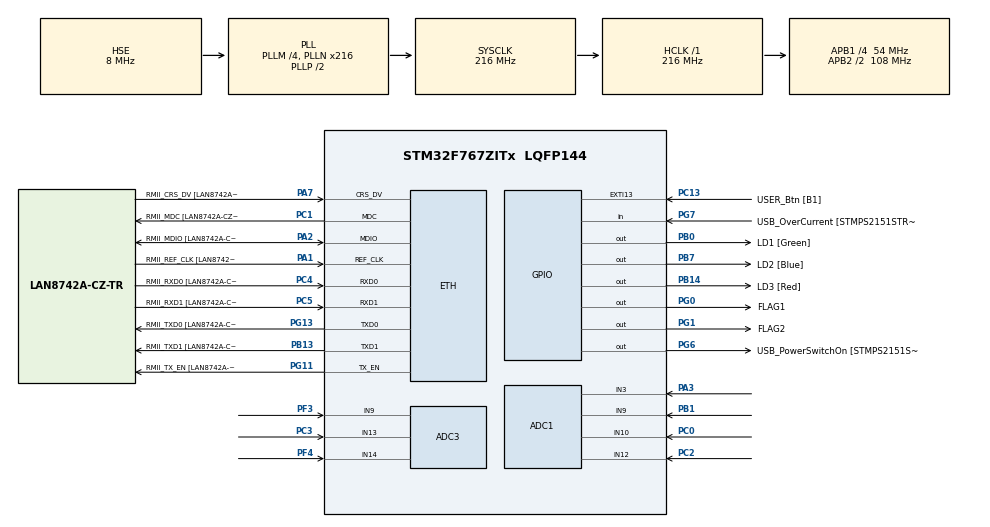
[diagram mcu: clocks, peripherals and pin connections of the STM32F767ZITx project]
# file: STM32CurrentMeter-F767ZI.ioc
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ADC1.Channel-3\#ChannelRegularConversion=ADC_CHANNEL_3
ADC1.Channel-4\#ChannelRegularConversion=ADC_CHANNEL_10
ADC1.Channel-5\#ChannelRegularConversion=ADC_CHANNEL_9
ADC1.Channel-6\#ChannelRegularConversion=ADC_CHANNEL_12
ADC1.InjNumberOfConversion=0
ADC1.NbrOfConversion=4
ADC1.NbrOfConversionFlag=1
ADC1.Rank-3\#ChannelRegularConversion=1
ADC1.Rank-4\#ChannelRegularConversion=2
ADC1.Rank-5\#ChannelRegularConversion=3
ADC1.Rank-6\#ChannelRegularConversion=4
ADC1.SamplingTime-3\#ChannelRegularConversion=ADC_SAMPLETIME_3CYCLES
ADC1.SamplingTime-4\#ChannelRegularConversion=ADC_SAMPLETIME_3CYCLES
ADC1.SamplingTime-5\#ChannelRegularConversion=ADC_SAMPLETIME_3CYCLES
ADC1.SamplingTime-6\#ChannelRegularConversion=ADC_SAMPLETIME_3CYCLES
ADC1.master=1
ADC3.Channel-2\#ChannelRegularConversion=ADC_CHANNEL_13
ADC3.Channel-3\#ChannelRegularConversion=ADC_CHANNEL_9
ADC3.Channel-4\#ChannelRegularConversion=ADC_CHANNEL_14
ADC3.NbrOfConversion=3
ADC3.NbrOfConversionFlag=1
ADC3.Rank-2\#ChannelRegularConversion=1
ADC3.Rank-3\#ChannelRegularConversion=2
ADC3.Rank-4\#ChannelRegularConversion=3
ADC3.SamplingTime-2\#ChannelRegularConversion=ADC_SAMPLETIME_3CYCLES
ADC3.SamplingTime-3\#ChannelRegularConversion=ADC_SAMPLETIME_3CYCLES
ADC3.SamplingTime-4\#ChannelRegularConversion=ADC_SAMPLETIME_3CYCLES
ADC3.ScanConvMode=ADC_SCAN_ENABLE
Dma.ADC1.1.Direction=DMA_PERIPH_TO_MEMORY
Dma.ADC1.1.FIFOMode=DMA_FIFOMODE_DISABLE
Dma.ADC1.1.Instance=DMA2_Stream4
Dma.ADC1.1.MemDataAlignment=DMA_MDATAALIGN_WORD
Dma.ADC1.1.MemInc=DMA_MINC_ENABLE
Dma.ADC1.1.Mode=DMA_NORMAL
Dma.ADC1.1.PeriphDataAlignment=DMA_PDATAALIGN_WORD
Dma.ADC1.1.PeriphInc=DMA_PINC_DISABLE
Dma.ADC1.1.Priority=DMA_PRIORITY_LOW
Dma.ADC3.0.Direction=DMA_PERIPH_TO_MEMORY
Dma.ADC3.0.FIFOMode=DMA_FIFOMODE_DISABLE
Dma.ADC3.0.Instance=DMA2_Stream0
Dma.ADC3.0.MemDataAlignment=DMA_MDATAALIGN_WORD
Dma.ADC3.0.MemInc=DMA_MINC_ENABLE
Dma.ADC3.0.Mode=DMA_NORMAL
Dma.ADC3.0.PeriphDataAlignment=DMA_PDATAALIGN_WORD
Dma.ADC3.0.PeriphInc=DMA_PINC_DISABLE
Dma.ADC3.0.Priority=DMA_PRIORITY_LOW
Dma.Request0=ADC3
Dma.Request1=ADC1
ETH.MediaInterface=HAL_ETH_RMII_MODE
ETH.PHY_Name=LAN8742A_PHY_ADDRESS
ETH.PHY_Value=0
ETH.PhyAddress=0
Mcu.Family=STM32F7
Mcu.Name=STM32F767ZITx
Mcu.Package=LQFP144
NVIC.ADC_IRQn=true\:0\:0\:false\:false\:true\:true\:true\:true
NVIC.DMA2_Stream0_IRQn=true\:0\:0\:false\:false\:true\:false\:true\:true
NVIC.DMA2_Stream4_IRQn=true\:0\:0\:false\:false\:true\:false\:true\:true
NVIC.PriorityGroup=NVIC_PRIORITYGROUP_4
NVIC.TIM3_IRQn=true\:0\:0\:false\:false\:true\:true\:true\:true
PA1.GPIO_Label=RMII_REF_CLK [LAN8742A-CZ-TR_REFCLK0]
PA1.Mode=RMII
PA1.Signal=ETH_REF_CLK
PA10.GPIO_Label=USB_ID
PA10.Signal=USB_OTG_FS_ID
PA11.GPIO_Label=USB_DM
PA11.Signal=USB_OTG_FS_DM
PA12.GPIO_Label=USB_DP
PA12.Signal=USB_OTG_FS_DP
PA13.GPIO_Label=TMS
PA13.Mode=Serial_Wire
PA13.Signal=SYS_JTMS-SWDIO
PA14.GPIO_Label=TCK
PA14.Mode=Serial_Wire
PA14.Signal=SYS_JTCK-SWCLK
PA2.GPIO_Label=RMII_MDIO [LAN8742A-CZ-TR_MDIO]
PA2.Mode=RMII
PA2.Signal=ETH_MDIO
PA3.Signal=ADCx_IN3
PA7.GPIO_Label=RMII_CRS_DV [LAN8742A-CZ-TR_CRS_DV]
PA7.Mode=RMII
PA7.Signal=ETH_CRS_DV
PA8.GPIO_Label=USB_SOF [TP1]
PA8.Signal=USB_OTG_FS_SOF
PA9.GPIO_Label=USB_VBUS
PA9.Signal=USB_OTG_FS_VBUS
PB0.GPIO_Label=LD1 [Green]
PB0.Signal=GPIO_Output
PB1.Signal=ADCx_IN9
PB13.GPIO_Label=RMII_TXD1 [LAN8742A-CZ-TR_TXD1]
PB13.Mode=RMII
PB13.Signal=ETH_TXD1
PB14.GPIO_Label=LD3 [Red]
PB14.Signal=GPIO_Output
PB3.GPIO_Label=SWO
PB3.Signal=SYS_JTDO-SWO
PB7.GPIO_Label=LD2 [Blue]
PB7.Signal=GPIO_Output
PC0.Signal=ADCx_IN10
PC1.GPIO_Label=RMII_MDC [LAN8742A-CZ-TR_MDC]
PC1.Mode=RMII
PC1.Signal=ETH_MDC
PC13.GPIO_Label=USER_Btn [B1]
PC13.Signal=GPXTI13
PC14/OSC32_IN.Mode=LSE-External-Oscillator
PC14/OSC32_IN.Signal=RCC_OSC32_IN
PC15/OSC32_OUT.Mode=LSE-External-Oscillator
PC15/OSC32_OUT.Signal=RCC_OSC32_OUT
PC2.Signal=ADCx_IN12
PC3.Signal=ADCx_IN13
PC4.GPIO_Label=RMII_RXD0 [LAN8742A-CZ-TR_RXD0]
PC4.Mode=RMII
PC4.Signal=ETH_RXD0
PC5.GPIO_Label=RMII_RXD1 [LAN8742A-CZ-TR_RXD1]
PC5.Mode=RMII
PC5.Signal=ETH_RXD1
PD8.GPIO_Label=STLK_RX [STM32F103CBT6_PA3]
PD8.Signal=USART3_TX
PD9.GPIO_Label=STLK_TX [STM32F103CBT6_PA2]
PD9.Signal=USART3_RX
PF3.Mode=IN9
PF3.Signal=ADC3_IN9
PF4.Mode=IN14
PF4.Signal=ADC3_IN14
PG0.GPIO_Label=FLAG1
PG0.GPIO_Speed=GPIO_SPEED_FREQ_VERY_HIGH
PG0.Signal=GPIO_Output
PG1.GPIO_Label=FLAG2
PG1.GPIO_Speed=GPIO_SPEED_FREQ_VERY_HIGH
PG1.Signal=GPIO_Output
PG11.GPIO_Label=RMII_TX_EN [LAN8742A-CZ-TR_TXEN]
PG11.Mode=RMII
PG11.Signal=ETH_TX_EN
PG13.GPIO_Label=RMII_TXD0 [LAN8742A-CZ-TR_TXD0]
PG13.Mode=RMII
PG13.Signal=ETH_TXD0
PG6.GPIO_Label=USB_PowerSwitchOn [STMPS2151STR_EN]
PG6.Signal=GPIO_Output
PG7.GPIO_Label=USB_OverCurrent [STMPS2151STR_FAULT]
PG7.Signal=GPIO_Input
PH0/OSC_IN.GPIO_Label=MCO [STM32F103CBT6_PA8]
PH0/OSC_IN.Mode=HSE-External-Clock-Source
PH0/OSC_IN.Signal=RCC_OSC_IN
PH1/OSC_OUT.Mode=HSE-External-Clock-Source
PH1/OSC_OUT.Signal=RCC_OSC_OUT
ProjectManager.HeapSize=0x200
ProjectManager.StackSize=0x400
ProjectManager.TargetToolchain=CMake
RCC.48MHZClocksFreq_Value=24000000
RCC.AHBFreq_Value=216000000
RCC.APB1CLKDivider=RCC_HCLK_DIV4
RCC.APB1Freq_Value=54000000
RCC.APB1TimFreq_Value=108000000
RCC.APB2CLKDivider=RCC_HCLK_DIV2
RCC.APB2Freq_Value=108000000
RCC.APB2TimFreq_Value=216000000
RCC.CortexFreq_Value=216000000
RCC.HCLKFreq_Value=216000000
RCC.HSE_VALUE=8000000
RCC.HSI_VALUE=16000000
RCC.PLLM=4
RCC.PLLMUL=RCC_PLL_MUL9
RCC.PLLN=216
RCC.PLLQ=9
RCC.PLLSourceVirtual=RCC_PLLSOURCE_HSE
RCC.PRESCALERUSB=RCC_USBCLKSOURCE_PLL_DIV1_5
RCC.SYSCLKFreq_VALUE=216000000
RCC.SYSCLKSource=RCC_SYSCLKSOURCE_PLLCLK
RCC.SYSCLKSourceVirtual=RCC_SYSCLKSOURCE_PLLCLK
RCC.USBFreq_Value=48000000
RCC.VCOOutputFreq_Value=432000000
SH.ADCx_IN10.0=ADC1_IN10,IN10
SH.ADCx_IN12.0=ADC1_IN12,IN12
SH.ADCx_IN13.0=ADC3_IN13,IN13
SH.ADCx_IN3.0=ADC1_IN3,IN3
SH.ADCx_IN9.0=ADC1_IN9,IN9
TIM3.Period=TIM_PERIOD * CLOCK_FREQ * TIM3_CLK_PRSCL
VP_TIM3_VS_ClockSourceINT.Mode=Internal
board=NUCLEO-F767ZI

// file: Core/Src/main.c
/* USER CODE BEGIN Header */
/**
 ******************************************************************************
 * @file           : main.c
 * @brief          : Main program body
 ******************************************************************************
 * @attention
 *
 * Copyright (c) 2024 STMicroelectronics.
 * All rights reserved.
 *
 * This software is licensed under terms that can be found in the LICENSE file
 * in the root directory of this software component.
 * If no LICENSE file comes with this software, it is provided AS-IS.
 *
 ******************************************************************************
 */
/* USER CODE END Header */
#include "main.h"
#include "string.h"

/* USER CODE BEGIN Includes */
#include "def.h"
#include "measure.h"

/* USER CODE END Includes */

#if defined(__ICCARM__) /*!< IAR Compiler */
#pragma location = 0x2007c000
ETH_DMADescTypeDef DMARxDscrTab[ETH_RX_DESC_CNT]; /* Ethernet Rx DMA Descriptors */
#pragma location = 0x2007c0a0
ETH_DMADescTypeDef DMATxDscrTab[ETH_TX_DESC_CNT]; /* Ethernet Tx DMA Descriptors */

#elif defined(__CC_ARM) /* MDK ARM Compiler */

__attribute__((at(0x2007c000))) ETH_DMADescTypeDef DMARxDscrTab[ETH_RX_DESC_CNT]; /* Ethernet Rx DMA Descriptors */
__attribute__((at(0x2007c0a0))) ETH_DMADescTypeDef DMATxDscrTab[ETH_TX_DESC_CNT]; /* Ethernet Tx DMA Descriptors */

#elif defined(__GNUC__) /* GNU Compiler */

ETH_DMADescTypeDef DMARxDscrTab[ETH_RX_DESC_CNT] __attribute__((section(".RxDecripSection"))); /* Ethernet Rx DMA Descriptors */
ETH_DMADescTypeDef DMATxDscrTab[ETH_TX_DESC_CNT] __attribute__((section(".TxDecripSection"))); /* Ethernet Tx DMA Descriptors */
#endif

ETH_TxPacketConfig TxConfig;

ADC_HandleTypeDef hadc1;
ADC_HandleTypeDef hadc3;
DMA_HandleTypeDef hdma_adc1;
DMA_HandleTypeDef hdma_adc3;

ETH_HandleTypeDef heth;

TIM_HandleTypeDef htim3;

/* USER CODE BEGIN PV */

static uint32_t adcBuffer[NB_ADC1_PINS + NB_ADC3_PINS]; // buffer to store adc instantanate values
static uint32_t *adc1_buffer = &adcBuffer[0];
static uint32_t *adc3_buffer = &adcBuffer[NB_ADC1_PINS];

static volatile bool adc1Complete;
static volatile bool adc3Complete;
static volatile bool adcCompleteFlag = false;

static volatile bool measureCompleteFlag;

/* USER CODE END PV */

void SystemClock_Config(void);
static void MX_GPIO_Init(void);
static void MX_DMA_Init(void);
static void MX_ADC3_Init(void);
static void MX_ETH_Init(void);
static void MX_ADC1_Init(void);
static void MX_TIM3_Init(void);
/* USER CODE BEGIN PFP */

void sendErrorMain(ErrorCode errorCode, float value);

/* USER CODE END PFP */

int main(void)
{

    /* MCU Configuration--------------------------------------------------------*/

    /* Reset of all peripherals, Initializes the Flash interface and the Systick. */
    HAL_Init();

    /* Configure the system clock */
    SystemClock_Config();

    /* Initialize all configured peripherals */
    MX_GPIO_Init();
    MX_DMA_Init();
    MX_ADC3_Init();
    MX_ETH_Init();
    MX_ADC1_Init();
    MX_TIM3_Init();
    /* USER CODE BEGIN 2 */

    adc1Complete = true;
    adc3Complete = true;
    measureCompleteFlag = true;
    measureInit();
    HAL_TIM_Base_Start_IT(&htim3);

    /* USER CODE END 2 */

    /* Infinite loop */
    while (1)
    {

    }
}

void SystemClock_Config(void)
{
    RCC_OscInitTypeDef RCC_OscInitStruct = {0};
    RCC_ClkInitTypeDef RCC_ClkInitStruct = {0};

    /** Configure LSE Drive Capability
     */
    HAL_PWR_EnableBkUpAccess();

    /** Configure the main internal regulator output voltage
     */
    __HAL_RCC_PWR_CLK_ENABLE();
    __HAL_PWR_VOLTAGESCALING_CONFIG(PWR_REGULATOR_VOLTAGE_SCALE1);

    /** Initializes the RCC Oscillators according to the specified parameters
     * in the RCC_OscInitTypeDef structure.
     */
    RCC_OscInitStruct.OscillatorType = RCC_OSCILLATORTYPE_HSE;
    RCC_OscInitStruct.HSEState = RCC_HSE_BYPASS;
    RCC_OscInitStruct.PLL.PLLState = RCC_PLL_ON;
    RCC_OscInitStruct.PLL.PLLSource = RCC_PLLSOURCE_HSE;
    RCC_OscInitStruct.PLL.PLLM = 4;
    RCC_OscInitStruct.PLL.PLLN = 216;
    RCC_OscInitStruct.PLL.PLLP = RCC_PLLP_DIV2;
    RCC_OscInitStruct.PLL.PLLQ = 9;
    RCC_OscInitStruct.PLL.PLLR = 2;
    if (HAL_RCC_OscConfig(&RCC_OscInitStruct) != HAL_OK)
    {
        Error_Handler();
    }

    /** Activate the Over-Drive mode
     */
    if (HAL_PWREx_EnableOverDrive() != HAL_OK)
    {
        Error_Handler();
    }

    /** Initializes the CPU, AHB and APB buses clocks
     */
    RCC_ClkInitStruct.ClockType = RCC_CLOCKTYPE_HCLK | RCC_CLOCKTYPE_SYSCLK | RCC_CLOCKTYPE_PCLK1 | RCC_CLOCKTYPE_PCLK2;
    RCC_ClkInitStruct.SYSCLKSource = RCC_SYSCLKSOURCE_PLLCLK;
    RCC_ClkInitStruct.AHBCLKDivider = RCC_SYSCLK_DIV1;
    RCC_ClkInitStruct.APB1CLKDivider = RCC_HCLK_DIV4;
    RCC_ClkInitStruct.APB2CLKDivider = RCC_HCLK_DIV2;

    if (HAL_RCC_ClockConfig(&RCC_ClkInitStruct, FLASH_LATENCY_7) != HAL_OK)
    {
        Error_Handler();
    }
}

static void MX_ADC1_Init(void)
{

    ADC_ChannelConfTypeDef sConfig = {0};

    /** Configure the global features of the ADC (Clock, Resolution, Data Alignment and number of conversion)
     */
    hadc1.Instance = ADC1;
    hadc1.Init.ClockPrescaler = ADC_CLOCK_SYNC_PCLK_DIV4;
    hadc1.Init.Resolution = ADC_RESOLUTION_12B;
    hadc1.Init.ScanConvMode = ADC_SCAN_ENABLE;
    hadc1.Init.ContinuousConvMode = DISABLE;
    hadc1.Init.DiscontinuousConvMode = DISABLE;
    hadc1.Init.ExternalTrigConvEdge = ADC_EXTERNALTRIGCONVEDGE_NONE;
    hadc1.Init.ExternalTrigConv = ADC_SOFTWARE_START;
    hadc1.Init.DataAlign = ADC_DATAALIGN_RIGHT;
    hadc1.Init.NbrOfConversion = 4;
    hadc1.Init.DMAContinuousRequests = DISABLE;
    hadc1.Init.EOCSelection = ADC_EOC_SINGLE_CONV;
    if (HAL_ADC_Init(&hadc1) != HAL_OK)
    {
        Error_Handler();
    }

    /** Configure for the selected ADC regular channel its corresponding rank in the sequencer and its sample time.
     */
    sConfig.Channel = ADC_CHANNEL_3;
    sConfig.Rank = ADC_REGULAR_RANK_1;
    sConfig.SamplingTime = ADC_SAMPLETIME_3CYCLES;
    if (HAL_ADC_ConfigChannel(&hadc1, &sConfig) != HAL_OK)
    {
        Error_Handler();
    }

    /** Configure for the selected ADC regular channel its corresponding rank in the sequencer and its sample time.
     */
    sConfig.Channel = ADC_CHANNEL_10;
    sConfig.Rank = ADC_REGULAR_RANK_2;
    if (HAL_ADC_ConfigChannel(&hadc1, &sConfig) != HAL_OK)
    {
        Error_Handler();
    }

    /** Configure for the selected ADC regular channel its corresponding rank in the sequencer and its sample time.
     */
    sConfig.Channel = ADC_CHANNEL_9;
    sConfig.Rank = ADC_REGULAR_RANK_3;
    if (HAL_ADC_ConfigChannel(&hadc1, &sConfig) != HAL_OK)
    {
        Error_Handler();
    }

    /** Configure for the selected ADC regular channel its corresponding rank in the sequencer and its sample time.
     */
    sConfig.Channel = ADC_CHANNEL_12;
    sConfig.Rank = ADC_REGULAR_RANK_4;
    if (HAL_ADC_ConfigChannel(&hadc1, &sConfig) != HAL_OK)
    {
        Error_Handler();
    }
}

static void MX_ADC3_Init(void)
{

    ADC_ChannelConfTypeDef sConfig = {0};

    /** Configure the global features of the ADC (Clock, Resolution, Data Alignment and number of conversion)
     */
    hadc3.Instance = ADC3;
    hadc3.Init.ClockPrescaler = ADC_CLOCK_SYNC_PCLK_DIV4;
    hadc3.Init.Resolution = ADC_RESOLUTION_12B;
    hadc3.Init.ScanConvMode = ADC_SCAN_ENABLE;
    hadc3.Init.ContinuousConvMode = DISABLE;
    hadc3.Init.DiscontinuousConvMode = DISABLE;
    hadc3.Init.ExternalTrigConvEdge = ADC_EXTERNALTRIGCONVEDGE_NONE;
    hadc3.Init.ExternalTrigConv = ADC_SOFTWARE_START;
    hadc3.Init.DataAlign = ADC_DATAALIGN_RIGHT;
    hadc3.Init.NbrOfConversion = 3;
    hadc3.Init.DMAContinuousRequests = DISABLE;
    hadc3.Init.EOCSelection = ADC_EOC_SINGLE_CONV;
    if (HAL_ADC_Init(&hadc3) != HAL_OK)
    {
        Error_Handler();
    }

    /** Configure for the selected ADC regular channel its corresponding rank in the sequencer and its sample time.
     */
    sConfig.Channel = ADC_CHANNEL_13;
    sConfig.Rank = ADC_REGULAR_RANK_1;
    sConfig.SamplingTime = ADC_SAMPLETIME_3CYCLES;
    if (HAL_ADC_ConfigChannel(&hadc3, &sConfig) != HAL_OK)
    {
        Error_Handler();
    }

    /** Configure for the selected ADC regular channel its corresponding rank in the sequencer and its sample time.
     */
    sConfig.Channel = ADC_CHANNEL_9;
    sConfig.Rank = ADC_REGULAR_RANK_2;
    if (HAL_ADC_ConfigChannel(&hadc3, &sConfig) != HAL_OK)
    {
        Error_Handler();
    }

    /** Configure for the selected ADC regular channel its corresponding rank in the sequencer and its sample time.
     */
    sConfig.Channel = ADC_CHANNEL_14;
    sConfig.Rank = ADC_REGULAR_RANK_3;
    if (HAL_ADC_ConfigChannel(&hadc3, &sConfig) != HAL_OK)
    {
        Error_Handler();
    }
}

static void MX_ETH_Init(void)
{

    static uint8_t MACAddr[6];

    heth.Instance = ETH;
    MACAddr[0] = 0x00;
    MACAddr[1] = 0x80;
    MACAddr[2] = 0xE1;
    MACAddr[3] = 0x00;
    MACAddr[4] = 0x00;
    MACAddr[5] = 0x00;
    heth.Init.MACAddr = &MACAddr[0];
    heth.Init.MediaInterface = HAL_ETH_RMII_MODE;
    heth.Init.TxDesc = DMATxDscrTab;
    heth.Init.RxDesc = DMARxDscrTab;
    heth.Init.RxBuffLen = 1524;

    if (HAL_ETH_Init(&heth) != HAL_OK)
    {
        Error_Handler();
    }

    memset(&TxConfig, 0, sizeof(ETH_TxPacketConfig));
    TxConfig.Attributes = ETH_TX_PACKETS_FEATURES_CSUM | ETH_TX_PACKETS_FEATURES_CRCPAD;
    TxConfig.ChecksumCtrl = ETH_CHECKSUM_IPHDR_PAYLOAD_INSERT_PHDR_CALC;
    TxConfig.CRCPadCtrl = ETH_CRC_PAD_INSERT;
}

static void MX_TIM3_Init(void)
{

    TIM_ClockConfigTypeDef sClockSourceConfig = {0};
    TIM_MasterConfigTypeDef sMasterConfig = {0};

    htim3.Instance = TIM3;
    htim3.Init.Prescaler = 0;
    htim3.Init.CounterMode = TIM_COUNTERMODE_UP;
    htim3.Init.Period = TIM_PERIOD * CLOCK_FREQ * TIM3_CLK_PRSCL;
    htim3.Init.ClockDivision = TIM_CLOCKDIVISION_DIV1;
    htim3.Init.AutoReloadPreload = TIM_AUTORELOAD_PRELOAD_DISABLE;
    if (HAL_TIM_Base_Init(&htim3) != HAL_OK)
    {
        Error_Handler();
    }
    sClockSourceConfig.ClockSource = TIM_CLOCKSOURCE_INTERNAL;
    if (HAL_TIM_ConfigClockSource(&htim3, &sClockSourceConfig) != HAL_OK)
    {
        Error_Handler();
    }
    sMasterConfig.MasterOutputTrigger = TIM_TRGO_RESET;
    sMasterConfig.MasterSlaveMode = TIM_MASTERSLAVEMODE_DISABLE;
    if (HAL_TIMEx_MasterConfigSynchronization(&htim3, &sMasterConfig) != HAL_OK)
    {
        Error_Handler();
    }
}

static void MX_DMA_Init(void)
{

    /* DMA controller clock enable */
    __HAL_RCC_DMA2_CLK_ENABLE();

    /* DMA interrupt init */
    /* DMA2_Stream0_IRQn interrupt configuration */
    HAL_NVIC_SetPriority(DMA2_Stream0_IRQn, 0, 0);
    HAL_NVIC_EnableIRQ(DMA2_Stream0_IRQn);
    /* DMA2_Stream4_IRQn interrupt configuration */
    HAL_NVIC_SetPriority(DMA2_Stream4_IRQn, 0, 0);
    HAL_NVIC_EnableIRQ(DMA2_Stream4_IRQn);
}

static void MX_GPIO_Init(void)
{
    GPIO_InitTypeDef GPIO_InitStruct = {0};

    /* GPIO Ports Clock Enable */
    __HAL_RCC_GPIOC_CLK_ENABLE();
    __HAL_RCC_GPIOF_CLK_ENABLE();
    __HAL_RCC_GPIOH_CLK_ENABLE();
    __HAL_RCC_GPIOA_CLK_ENABLE();
    __HAL_RCC_GPIOB_CLK_ENABLE();
    __HAL_RCC_GPIOG_CLK_ENABLE();
    __HAL_RCC_GPIOD_CLK_ENABLE();

    /*Configure GPIO pin Output Level */
    HAL_GPIO_WritePin(GPIOB, LD1_Pin | LD3_Pin | LD2_Pin, GPIO_PIN_RESET);

    /*Configure GPIO pin Output Level */
    HAL_GPIO_WritePin(GPIOG, FLAG1_Pin | FLAG2_Pin | USB_PowerSwitchOn_Pin, GPIO_PIN_RESET);

    /*Configure GPIO pin : USER_Btn_Pin */
    GPIO_InitStruct.Pin = USER_Btn_Pin;
    GPIO_InitStruct.Mode = GPIO_MODE_IT_RISING;
    GPIO_InitStruct.Pull = GPIO_NOPULL;
    HAL_GPIO_Init(USER_Btn_GPIO_Port, &GPIO_InitStruct);

    /*Configure GPIO pins : LD1_Pin LD3_Pin LD2_Pin */
    GPIO_InitStruct.Pin = LD1_Pin | LD3_Pin | LD2_Pin;
    GPIO_InitStruct.Mode = GPIO_MODE_OUTPUT_PP;
    GPIO_InitStruct.Pull = GPIO_NOPULL;
    GPIO_InitStruct.Speed = GPIO_SPEED_FREQ_LOW;
    HAL_GPIO_Init(GPIOB, &GPIO_InitStruct);

    /*Configure GPIO pins : FLAG1_Pin FLAG2_Pin */
    GPIO_InitStruct.Pin = FLAG1_Pin | FLAG2_Pin;
    GPIO_InitStruct.Mode = GPIO_MODE_OUTPUT_PP;
    GPIO_InitStruct.Pull = GPIO_NOPULL;
    GPIO_InitStruct.Speed = GPIO_SPEED_FREQ_VERY_HIGH;
    HAL_GPIO_Init(GPIOG, &GPIO_InitStruct);

    /*Configure GPIO pins : STLK_RX_Pin STLK_TX_Pin */
    GPIO_InitStruct.Pin = STLK_RX_Pin | STLK_TX_Pin;
    GPIO_InitStruct.Mode = GPIO_MODE_AF_PP;
    GPIO_InitStruct.Pull = GPIO_NOPULL;
    GPIO_InitStruct.Speed = GPIO_SPEED_FREQ_VERY_HIGH;
    GPIO_InitStruct.Alternate = GPIO_AF7_USART3;
    HAL_GPIO_Init(GPIOD, &GPIO_InitStruct);

    /*Configure GPIO pin : USB_PowerSwitchOn_Pin */
    GPIO_InitStruct.Pin = USB_PowerSwitchOn_Pin;
    GPIO_InitStruct.Mode = GPIO_MODE_OUTPUT_PP;
    GPIO_InitStruct.Pull = GPIO_NOPULL;
    GPIO_InitStruct.Speed = GPIO_SPEED_FREQ_LOW;
    HAL_GPIO_Init(USB_PowerSwitchOn_GPIO_Port, &GPIO_InitStruct);

    /*Configure GPIO pin : USB_OverCurrent_Pin */
    GPIO_InitStruct.Pin = USB_OverCurrent_Pin;
    GPIO_InitStruct.Mode = GPIO_MODE_INPUT;
    GPIO_InitStruct.Pull = GPIO_NOPULL;
    HAL_GPIO_Init(USB_OverCurrent_GPIO_Port, &GPIO_InitStruct);

    /*Configure GPIO pins : USB_SOF_Pin USB_ID_Pin USB_DM_Pin USB_DP_Pin */
    GPIO_InitStruct.Pin = USB_SOF_Pin | USB_ID_Pin | USB_DM_Pin | USB_DP_Pin;
    GPIO_InitStruct.Mode = GPIO_MODE_AF_PP;
    GPIO_InitStruct.Pull = GPIO_NOPULL;
    GPIO_InitStruct.Speed = GPIO_SPEED_FREQ_VERY_HIGH;
    GPIO_InitStruct.Alternate = GPIO_AF10_OTG_FS;
    HAL_GPIO_Init(GPIOA, &GPIO_InitStruct);

    /*Configure GPIO pin : USB_VBUS_Pin */
    GPIO_InitStruct.Pin = USB_VBUS_Pin;
    GPIO_InitStruct.Mode = GPIO_MODE_INPUT;
    GPIO_InitStruct.Pull = GPIO_NOPULL;
    HAL_GPIO_Init(USB_VBUS_GPIO_Port, &GPIO_InitStruct);

}

/* USER CODE BEGIN 4 */

void HAL_GPIO_EXTI_Callback(uint16_t GPIO_Pin)
{
    if (GPIO_Pin == USER_Btn_Pin)
    {
        HAL_GPIO_TogglePin(LD2_GPIO_Port, LD2_Pin);
    }
}

void HAL_TIM_PeriodElapsedCallback(TIM_HandleTypeDef *htim)
{
    // If the interupt comes from Timer3
    if (htim == &htim3)
    {
        if (!adc1Complete || !adc3Complete)
        {
            sendErrorMain(PERFORMANCE_ERROR, 0.);
        }
        HAL_GPIO_WritePin(FLAG1_GPIO_Port, FLAG1_Pin, GPIO_PIN_SET);

        adc1Complete = false;
        adc3Complete = false;

        HAL_ADC_Start_DMA(&hadc1, adc1_buffer, NB_ADC1_PINS);
        HAL_ADC_Start_DMA(&hadc3, adc3_buffer, NB_ADC3_PINS);
    }
}

void HAL_ADC_ConvCpltCallback(ADC_HandleTypeDef *hadc)
{
    if (hadc == &hadc1)
    {
        adc1Complete = true;
        HAL_ADC_Stop_DMA(&hadc1);
        HAL_GPIO_WritePin(FLAG1_GPIO_Port, FLAG1_Pin, GPIO_PIN_RESET);
    }
    else if (hadc == &hadc3)
    {
        adc3Complete = true;
        HAL_ADC_Stop_DMA(&hadc3);
    }
    if (adc1Complete && adc3Complete)
    {
        if (!measureCompleteFlag)
        {
            sendErrorMain(PERFORMANCE_ERROR, 0.);
        }
        HAL_GPIO_WritePin(FLAG2_GPIO_Port, FLAG2_Pin, GPIO_PIN_SET);
        measureCompleteFlag = false;
        measureAdcCallback(adcBuffer);
        measureCompleteFlag = true;
        HAL_GPIO_WritePin(FLAG2_GPIO_Port, FLAG2_Pin, GPIO_PIN_RESET);
    }
}

void sendErrorMain(ErrorCode errorCode, float value)
{
    HAL_GPIO_WritePin(LD3_GPIO_Port, LD3_Pin, GPIO_PIN_SET);
    UNUSED(errorCode);
    UNUSED(value);
}

/* USER CODE END 4 */

void Error_Handler(void)
{
    __disable_irq();
    while (1)
    {
    }
}
